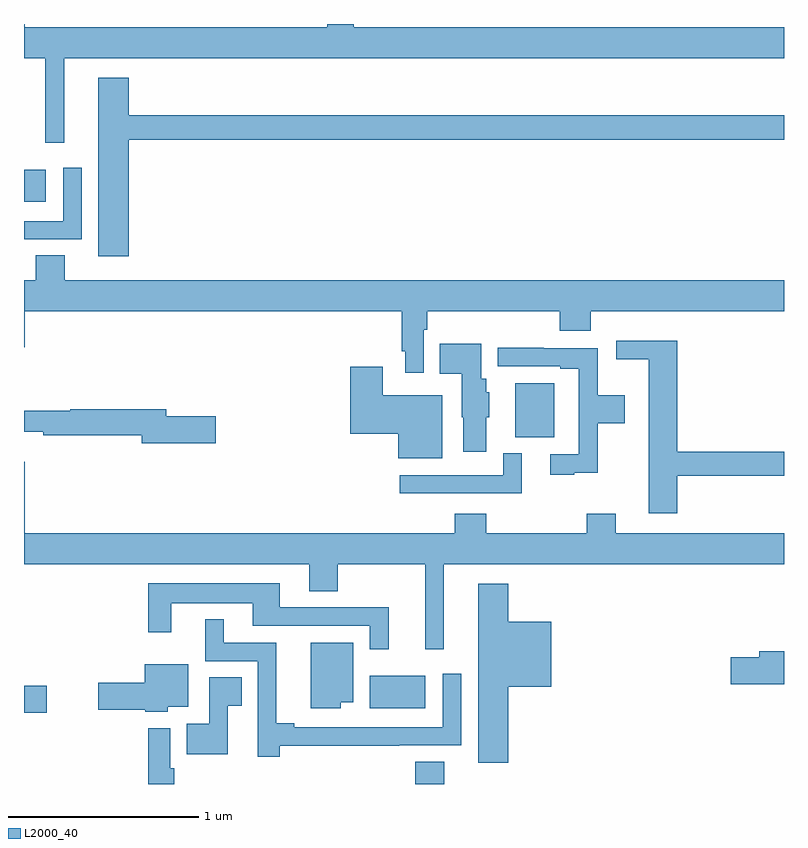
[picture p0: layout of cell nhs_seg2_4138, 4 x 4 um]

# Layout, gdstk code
import gdstk
lib = gdstk.Library(unit=1e-6, precision=1e-09)
def R(c, l, rs):  # rectangles x0, y0, x1, y1
    for r in rs: c.add(gdstk.rectangle(r[:2], r[2:], *l))
def P(c, l, *ps):  # polygons
    for p in ps: c.add(gdstk.Polygon(p, *l))
L2000_40 = (2000, 40)

nhs_seg2_4138 = lib.new_cell('nhs_seg2_4138')
R(nhs_seg2_4138, L2000_40, [(335.06,659.8,335.212,659.918), (333,660.175,333.121,660.317), (334.82,660.2,335.113,660.37), (335.585,661.625,335.791,661.909), (333,662.864,333.115,663.034)])
P(nhs_seg2_4138, L2000_40, [(333.212,663.62),(337,663.62),(337,663.784),(334.735,663.784),(334.735,663.8),(334.595,663.8),(334.595,663.784),(333.004,663.784),(333.004,663.8),(333,663.8),(333,663.62),(333.113,663.62),(333.113,663.174),(333.212,663.174)],
  [(333.551,663.19),(337,663.19),(337,663.319),(333.551,663.319),(333.551,663.517),(333.392,663.517),(333.392,662.577),(333.551,662.577)],
  [(333.303,663.043),(333.207,663.043),(333.207,662.763),(333,662.763),(333,662.667),(333.303,662.667)],
  [(335.103,662.192),(335.123,662.192),(335.123,662.288),(335.819,662.288),(335.819,662.186),(335.984,662.186),(335.984,662.288),(337,662.288),(337,662.452),(333.214,662.452),(333.214,662.582),(333.062,662.582),(333.062,662.452),(333,662.452),(333,662.1),(333.004,662.1),(333.004,662.288),(334.987,662.288),(334.987,662.077),(335.007,662.077),(335.007,661.965),(335.103,661.965)],
  [(336.437,661.422),(337,661.422),(337,661.55),(336.437,661.55),(336.437,662.134),(336.117,662.134),(336.117,662.036),(336.287,662.036),(336.287,661.224),(336.437,661.224)],
  [(335.434,661.731),(335.449,661.731),(335.449,661.863),(335.434,661.863),(335.434,661.932),(335.407,661.932),(335.407,662.116),(335.188,662.116),(335.188,661.958),(335.303,661.958),(335.303,661.731),(335.312,661.731),(335.312,661.548),(335.434,661.548)],
  [(335.897,661.439),(336.02,661.439),(336.02,661.699),(336.163,661.699),(336.163,661.846),(336.02,661.846),(336.02,662.094),(335.735,662.094),(335.735,662.096),(335.493,662.096),(335.493,661.998),(335.822,661.998),(335.822,661.986),(335.919,661.986),(335.919,661.536),(335.769,661.536),(335.769,661.428),(335.897,661.428)],
  [(335.2,661.846),(334.888,661.846),(334.888,661.996),(334.718,661.996),(334.718,661.643),(334.97,661.643),(334.97,661.514),(335.2,661.514)],
  [(334.009,661.736),(333.748,661.736),(333.748,661.772),(333.244,661.772),(333.244,661.765),(333,661.765),(333,661.655),(333.1,661.655),(333.1,661.636),(333.62,661.636),(333.62,661.594),(334.009,661.594)],
  [(335.62,661.54),(335.523,661.54),(335.523,661.425),(334.977,661.425),(334.977,661.329),(335.62,661.329)],
  [(335.21,660.956),(337,660.956),(337,661.12),(336.115,661.12),(336.115,661.222),(335.963,661.222),(335.963,661.12),(335.432,661.12),(335.432,661.222),(335.267,661.222),(335.267,661.12),(333.004,661.12),(333.004,661.495),(333,661.495),(333,660.956),(334.502,660.956),(334.502,660.814),(334.65,660.814),(334.65,660.956),(335.111,660.956),(335.111,660.51),(335.21,660.51)],
  [(334.919,660.729),(334.345,660.729),(334.345,660.856),(333.654,660.856),(333.654,660.6),(333.775,660.6),(333.775,660.752),(334.205,660.752),(334.205,660.633),(334.821,660.633),(334.821,660.51),(334.919,660.51)],
  [(335.549,660.311),(335.776,660.311),(335.776,660.655),(335.549,660.655),(335.549,660.853),(335.39,660.853),(335.39,659.913),(335.549,659.913)],
  [(334.346,660.002),(334.976,660.002),(334.976,660.003),(335.301,660.003),(335.301,660.379),(335.205,660.379),(335.205,660.099),(334.423,660.099),(334.423,660.119),(334.328,660.119),(334.328,660.543),(334.051,660.543),(334.051,660.667),(333.953,660.667),(333.953,660.447),(334.23,660.447),(334.23,659.943),(334.346,659.943)],
  [(334.666,660.23),(334.732,660.23),(334.732,660.544),(334.508,660.544),(334.508,660.2),(334.666,660.2)],
  [(337,660.498),(336.869,660.498),(336.869,660.468),(336.72,660.468),(336.72,660.326),(337,660.326)],
  [(333.756,660.206),(333.865,660.206),(333.865,660.43),(333.635,660.43),(333.635,660.332),(333.39,660.332),(333.39,660.19),(333.639,660.19),(333.639,660.179),(333.756,660.179)],
  [(334.072,660.211),(334.145,660.211),(334.145,660.362),(333.975,660.362),(333.975,660.118),(333.856,660.118),(333.856,659.957),(334.072,659.957)],
  [(333.791,659.884),(333.771,659.884),(333.771,660.094),(333.655,660.094),(333.655,659.8),(333.791,659.8)])

lib.write_gds('nhs_seg2_4138.gds')
